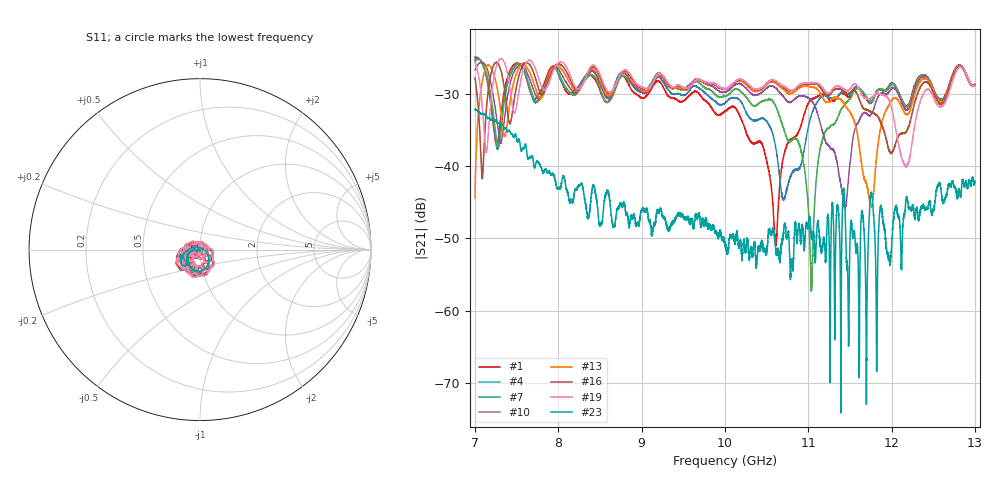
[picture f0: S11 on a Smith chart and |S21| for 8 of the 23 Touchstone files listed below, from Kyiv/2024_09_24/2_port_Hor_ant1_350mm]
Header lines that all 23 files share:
[Version] 2.0
! Rohde & Schwarz Vector Network Analyzer
! Rohde-Schwarz,ZNL20-2Port,1323001220200009,1.71.1.10-23.02.1.238
! Port Assignments:
! Nominal Port -> Actual Test Port
!  1 -> 1
!  2 -> 2
# Hz S DB R 50
[Number of Ports] 2
[Two-Port Data Order] 21_12
! freq[Hz]  S11[mag dB]  S11[ang]  S21[mag dB]  S21[ang]  S12[mag dB]  S12[ang]  S22[mag dB]  S22[ang]
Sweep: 7 GHz to 13 GHz
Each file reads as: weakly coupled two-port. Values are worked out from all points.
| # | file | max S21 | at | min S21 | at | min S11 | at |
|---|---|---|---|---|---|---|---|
| 1 | 0.01.s2p | -24.92 dB | 7 GHz | -51.0 dB | 10.61 GHz | -50.9 dB | 8.947 GHz |
| 2 | 1.s2p | -24.96 dB | 7.03 GHz | -51.6 dB | 10.64 GHz | -47.6 dB | 8.412 GHz |
| 3 | 2.s2p | -25.00 dB | 7.028 GHz | -48.8 dB | 10.67 GHz | -49.0 dB | 8.414 GHz |
| 4 | 3.s2p | -25.06 dB | 7.032 GHz | -44.7 dB | 10.71 GHz | -45.8 dB | 8.421 GHz |
| 5 | 4.s2p | -25.08 dB | 7.021 GHz | -45.7 dB | 10.92 GHz | -44.1 dB | 8.411 GHz |
| 6 | 5.s2p | -25.16 dB | 7.031 GHz | -57.6 dB | 10.96 GHz | -46.4 dB | 8.415 GHz |
| 7 | 6.s2p | -25.18 dB | 7.045 GHz | -57.3 dB | 11.04 GHz | -50.9 dB | 8.417 GHz |
| 8 | 7.s2p | -25.29 dB | 7.045 GHz | -63.0 dB | 11.13 GHz | -56.7 dB | 8.421 GHz |
| 9 | 8.s2p | -25.38 dB | 7.061 GHz | -86.3 dB | 11.32 GHz | -70.7 dB | 8.425 GHz |
| 10 | 9.s2p | -25.62 dB | 7.072 GHz | -45.9 dB | 11.44 GHz | -58.9 dB | 8.432 GHz |
| 11 | 10.s2p | -25.79 dB | 7.106 GHz | -43.9 dB | 11.52 GHz | -54.1 dB | 8.439 GHz |
| 12 | 11.s2p | -25.82 dB | 7.57 GHz | -48.1 dB | 11.63 GHz | -53.4 dB | 8.446 GHz |
| 13 | 12.s2p | -25.74 dB | 7.576 GHz | -45.7 dB | 11.76 GHz | -52.6 dB | 8.451 GHz |
| 14 | 13.s2p | -25.67 dB | 7.58 GHz | -58.5 dB | 7.028 GHz | -52.8 dB | 8.455 GHz |
| 15 | 14.s2p | -25.65 dB | 7.592 GHz | -46.0 dB | 7.063 GHz | -52.0 dB | 8.458 GHz |
| 16 | 15.s2p | -25.63 dB | 7.255 GHz | -41.7 dB | 7.088 GHz | -51.2 dB | 8.461 GHz |
| 17 | 16.s2p | -25.42 dB | 7.275 GHz | -40.4 dB | 12.05 GHz | -51.6 dB | 8.462 GHz |
| 18 | 17.s2p | -25.23 dB | 7.298 GHz | -41.6 dB | 12.13 GHz | -50.5 dB | 8.464 GHz |
| 19 | 18.s2p | -25.09 dB | 7.31 GHz | -40.1 dB | 12.17 GHz | -49.7 dB | 8.467 GHz |
| 20 | 19.8.s2p | -24.99 dB | 7.332 GHz | -37.7 dB | 7.149 GHz | -48.7 dB | 8.47 GHz |
| 21 | 19.s2p | -25.01 dB | 7.325 GHz | -37.9 dB | 7.146 GHz | -49.0 dB | 8.467 GHz |
| 22 | metal.s2p | -25.21 dB | 7.07 GHz | -35.7 dB | 7.318 GHz | -65.2 dB | 8.471 GHz |
| 23 | noDUT.s2p | -32.13 dB | 7.002 GHz | -74.2 dB | 11.39 GHz | -45.6 dB | 13 GHz |
